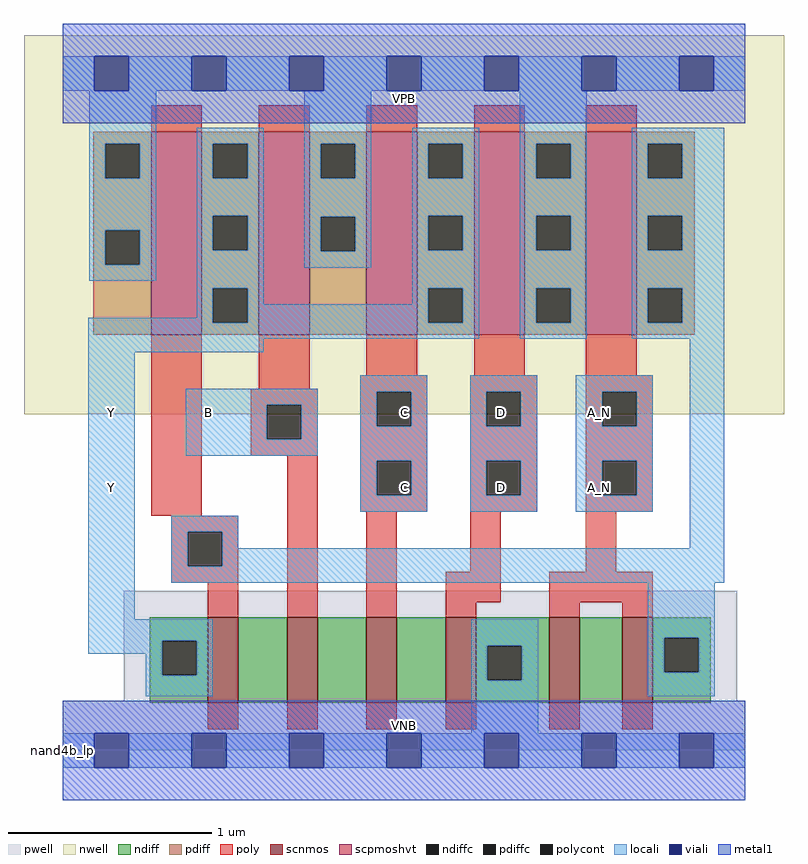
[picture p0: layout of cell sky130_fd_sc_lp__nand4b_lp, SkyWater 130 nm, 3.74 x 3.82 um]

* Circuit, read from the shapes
.subckt sky130_fd_sc_lp__nand4b_lp A_N B C D VGND VNB VPB VPWR Y
XM1 n1 n2 Y VNB sky130_fd_pr__nfet_01v8 w=0.42 l=0.15
XM2 n3 B n1 VNB sky130_fd_pr__nfet_01v8 w=0.42 l=0.15
XM3 n4 C n3 VNB sky130_fd_pr__nfet_01v8 w=0.42 l=0.15
XM4 VGND D n4 VNB sky130_fd_pr__nfet_01v8 w=0.42 l=0.15
XM5 n5 A_N VGND VNB sky130_fd_pr__nfet_01v8 w=0.42 l=0.15
XM6 n2 A_N n5 VNB sky130_fd_pr__nfet_01v8 w=0.42 l=0.15
XM7 Y n2 VPWR VPB sky130_fd_pr__pfet_01v8_hvt w=1 l=0.25
XM8 VPWR B Y VPB sky130_fd_pr__pfet_01v8_hvt w=1 l=0.25
XM9 Y C VPWR VPB sky130_fd_pr__pfet_01v8_hvt w=1 l=0.25
XM10 VPWR D Y VPB sky130_fd_pr__pfet_01v8_hvt w=1 l=0.25
XM11 n2 A_N VPWR VPB sky130_fd_pr__pfet_01v8_hvt w=1 l=0.25
.ends

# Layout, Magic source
magic
tech sky130A
magscale 1 2
<< nwell >>
rect -38 331 710 704
<< pwell >>
rect 60 49 664 157
rect 0 0 672 49
<< scnmos >>
rect 143 47 173 131
rect 221 47 251 131
rect 299 47 329 131
rect 377 47 407 131
rect 479 47 509 131
rect 551 47 581 131
<< scpmoshvt >>
rect 87 409 137 609
rect 193 409 243 609
rect 299 409 349 609
rect 405 409 455 609
rect 515 409 565 609
<< ndiff >>
rect 86 108 143 131
rect 86 74 98 108
rect 132 74 143 108
rect 86 47 143 74
rect 173 47 221 131
rect 251 47 299 131
rect 329 47 377 131
rect 407 103 479 131
rect 407 69 418 103
rect 452 69 479 103
rect 407 47 479 69
rect 509 47 551 131
rect 581 111 638 131
rect 581 77 592 111
rect 626 77 638 111
rect 581 47 638 77
<< pdiff >>
rect 30 597 87 609
rect 30 563 42 597
rect 76 563 87 597
rect 30 512 87 563
rect 30 478 42 512
rect 76 478 87 512
rect 30 409 87 478
rect 137 597 193 609
rect 137 563 148 597
rect 182 563 193 597
rect 137 526 193 563
rect 137 492 148 526
rect 182 492 193 526
rect 137 455 193 492
rect 137 421 148 455
rect 182 421 193 455
rect 137 409 193 421
rect 243 597 299 609
rect 243 563 254 597
rect 288 563 299 597
rect 243 525 299 563
rect 243 491 254 525
rect 288 491 299 525
rect 243 409 299 491
rect 349 597 405 609
rect 349 563 360 597
rect 394 563 405 597
rect 349 526 405 563
rect 349 492 360 526
rect 394 492 405 526
rect 349 455 405 492
rect 349 421 360 455
rect 394 421 405 455
rect 349 409 405 421
rect 455 597 515 609
rect 455 563 466 597
rect 500 563 515 597
rect 455 526 515 563
rect 455 492 466 526
rect 500 492 515 526
rect 455 455 515 492
rect 455 421 466 455
rect 500 421 515 455
rect 455 409 515 421
rect 565 597 622 609
rect 565 563 576 597
rect 610 563 622 597
rect 565 526 622 563
rect 565 492 576 526
rect 610 492 622 526
rect 565 455 622 492
rect 565 421 576 455
rect 610 421 622 455
rect 565 409 622 421
<< ndiffc >>
rect 98 74 132 108
rect 418 69 452 103
rect 592 77 626 111
<< pdiffc >>
rect 42 563 76 597
rect 42 478 76 512
rect 148 563 182 597
rect 148 492 182 526
rect 148 421 182 455
rect 254 563 288 597
rect 254 491 288 525
rect 360 563 394 597
rect 360 492 394 526
rect 360 421 394 455
rect 466 563 500 597
rect 466 492 500 526
rect 466 421 500 455
rect 576 563 610 597
rect 576 492 610 526
rect 576 421 610 455
<< poly >>
rect 87 609 137 635
rect 193 609 243 635
rect 299 609 349 635
rect 405 609 455 635
rect 515 609 565 635
rect 87 231 137 409
rect 193 356 243 409
rect 299 369 349 409
rect 405 369 455 409
rect 515 369 565 409
rect 185 340 251 356
rect 185 306 201 340
rect 235 306 251 340
rect 185 290 251 306
rect 107 215 173 231
rect 107 181 123 215
rect 157 181 173 215
rect 107 165 173 181
rect 143 131 173 165
rect 221 131 251 290
rect 293 353 359 369
rect 293 319 309 353
rect 343 319 359 353
rect 293 285 359 319
rect 293 251 309 285
rect 343 251 359 285
rect 293 235 359 251
rect 401 353 467 369
rect 401 319 417 353
rect 451 319 467 353
rect 401 285 467 319
rect 401 251 417 285
rect 451 251 467 285
rect 401 235 467 251
rect 515 353 581 369
rect 515 319 531 353
rect 565 319 581 353
rect 515 285 581 319
rect 515 251 531 285
rect 565 251 581 285
rect 515 235 581 251
rect 299 131 329 235
rect 401 176 431 235
rect 515 176 545 235
rect 377 146 431 176
rect 479 146 581 176
rect 377 131 407 146
rect 479 131 509 146
rect 551 131 581 146
rect 143 21 173 47
rect 221 21 251 47
rect 299 21 329 47
rect 377 21 407 47
rect 479 21 509 47
rect 551 21 581 47
<< polycont >>
rect 201 306 235 340
rect 123 181 157 215
rect 309 319 343 353
rect 309 251 343 285
rect 417 319 451 353
rect 417 251 451 285
rect 531 319 565 353
rect 531 251 565 285
<< locali >>
rect 0 649 31 683
rect 65 649 127 683
rect 161 649 223 683
rect 257 649 319 683
rect 353 649 415 683
rect 449 649 511 683
rect 545 649 607 683
rect 641 649 672 683
rect 26 597 92 649
rect 26 563 42 597
rect 76 563 92 597
rect 26 512 92 563
rect 26 478 42 512
rect 76 478 92 512
rect 26 462 92 478
rect 132 597 198 613
rect 132 563 148 597
rect 182 563 198 597
rect 132 526 198 563
rect 132 492 148 526
rect 182 492 198 526
rect 132 455 198 492
rect 238 597 304 649
rect 238 563 254 597
rect 288 563 304 597
rect 238 525 304 563
rect 238 491 254 525
rect 288 491 304 525
rect 238 475 304 491
rect 344 597 410 613
rect 344 563 360 597
rect 394 563 410 597
rect 344 526 410 563
rect 344 492 360 526
rect 394 492 410 526
rect 132 426 148 455
rect 25 421 148 426
rect 182 439 198 455
rect 344 455 410 492
rect 344 439 360 455
rect 182 421 360 439
rect 394 421 410 455
rect 25 405 410 421
rect 450 597 516 649
rect 450 563 466 597
rect 500 563 516 597
rect 450 526 516 563
rect 450 492 466 526
rect 500 492 516 526
rect 450 455 516 492
rect 450 421 466 455
rect 500 421 516 455
rect 450 405 516 421
rect 560 597 651 613
rect 560 563 576 597
rect 610 563 651 597
rect 560 526 651 563
rect 560 492 576 526
rect 610 492 651 526
rect 560 455 651 492
rect 560 421 576 455
rect 610 421 651 455
rect 560 405 651 421
rect 25 392 198 405
rect 25 129 71 392
rect 121 340 251 356
rect 121 306 201 340
rect 235 306 251 340
rect 121 290 251 306
rect 293 353 359 369
rect 293 319 309 353
rect 343 319 359 353
rect 293 285 359 319
rect 293 251 309 285
rect 343 251 359 285
rect 293 235 359 251
rect 401 353 467 369
rect 401 319 417 353
rect 451 319 467 353
rect 401 285 467 319
rect 401 251 417 285
rect 451 251 467 285
rect 401 235 467 251
rect 505 353 581 369
rect 505 319 531 353
rect 565 319 581 353
rect 505 285 581 319
rect 505 251 531 285
rect 565 251 581 285
rect 505 235 581 251
rect 107 215 173 231
rect 107 181 123 215
rect 157 199 173 215
rect 617 199 651 405
rect 157 181 651 199
rect 107 165 651 181
rect 25 108 148 129
rect 25 95 98 108
rect 82 74 98 95
rect 132 74 148 108
rect 82 53 148 74
rect 402 103 468 129
rect 402 69 418 103
rect 452 69 468 103
rect 402 17 468 69
rect 576 111 642 165
rect 576 77 592 111
rect 626 77 642 111
rect 576 53 642 77
rect 0 -17 31 17
rect 65 -17 127 17
rect 161 -17 223 17
rect 257 -17 319 17
rect 353 -17 415 17
rect 449 -17 511 17
rect 545 -17 607 17
rect 641 -17 672 17
<< viali >>
rect 31 649 65 683
rect 127 649 161 683
rect 223 649 257 683
rect 319 649 353 683
rect 415 649 449 683
rect 511 649 545 683
rect 607 649 641 683
rect 31 -17 65 17
rect 127 -17 161 17
rect 223 -17 257 17
rect 319 -17 353 17
rect 415 -17 449 17
rect 511 -17 545 17
rect 607 -17 641 17
<< metal1 >>
rect 0 683 672 715
rect 0 649 31 683
rect 65 649 127 683
rect 161 649 223 683
rect 257 649 319 683
rect 353 649 415 683
rect 449 649 511 683
rect 545 649 607 683
rect 641 649 672 683
rect 0 617 672 649
rect 0 17 672 49
rect 0 -17 31 17
rect 65 -17 127 17
rect 161 -17 223 17
rect 257 -17 319 17
rect 353 -17 415 17
rect 449 -17 511 17
rect 545 -17 607 17
rect 641 -17 672 17
rect 0 -49 672 -17
<< labels >>
flabel pwell s 0 0 672 49 0 FreeSans 200 0 0 0 VNB
port 6 nsew ground bidirectional
flabel nwell s 0 617 672 666 0 FreeSans 200 0 0 0 VPB
port 7 nsew power bidirectional
rlabel comment s 0 0 0 0 4 nand4b_lp
flabel metal1 s 0 617 672 666 0 FreeSans 340 0 0 0 VPWR
port 8 nsew power bidirectional
flabel metal1 s 0 0 672 49 0 FreeSans 340 0 0 0 VGND
port 5 nsew ground bidirectional
flabel locali s 415 242 449 276 0 FreeSans 340 0 0 0 D
port 4 nsew signal input
flabel locali s 415 316 449 350 0 FreeSans 340 0 0 0 D
port 4 nsew signal input
flabel locali s 31 242 65 276 0 FreeSans 340 0 0 0 Y
port 9 nsew signal output
flabel locali s 31 316 65 350 0 FreeSans 340 0 0 0 Y
port 9 nsew signal output
flabel locali s 319 242 353 276 0 FreeSans 340 0 0 0 C
port 3 nsew signal input
flabel locali s 319 316 353 350 0 FreeSans 340 0 0 0 C
port 3 nsew signal input
flabel locali s 127 316 161 350 0 FreeSans 340 0 0 0 B
port 2 nsew signal input
flabel locali s 511 242 545 276 0 FreeSans 340 0 0 0 A_N
port 1 nsew signal input
flabel locali s 511 316 545 350 0 FreeSans 340 0 0 0 A_N
port 1 nsew signal input
<< properties >>
string LEFsite unit
string LEFclass CORE
string FIXED_BBOX 0 0 672 666
string GDS_FILE $PDKPATH/libs.ref/sky130_fd_sc_lp/gds/sky130_fd_sc_lp.gds
string LEFsymmetry X Y R90
string GDS_END 782824
string GDS_START 776086
<< end >>
